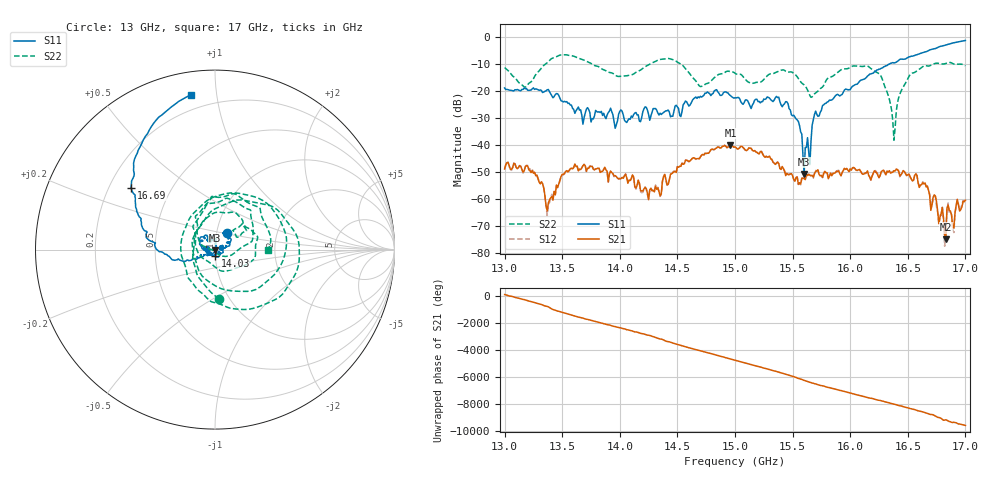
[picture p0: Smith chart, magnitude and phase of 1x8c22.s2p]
!Keysight Technologies,P9374A,MY57211807,A.19.30.04
!Date: Friday, May 08, 2026 15:09:33
!Correction: S11(C  2-Port  )
!S21(C  2-Port  )
!S12(C  2-Port  )
!S22(C  2-Port  )
!S2P File: Measurements: S11, S21, S12, S22:
# Hz S  dB  R 50
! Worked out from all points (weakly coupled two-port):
!   401 points, 13 GHz to 17 GHz, reference 50 ohm
!   highest |S21| = -40.00 dB at 14.96 GHz (marker M1); lowest = -75.1 dB at 16.83 GHz (marker M2)
!   lowest |S11| = -50.7 dB at 15.6 GHz (marker M3), VSWR 1.01, Z = 50 - j0.291 ohm
!   |S11| at or under -10 dB: start of sweep to 16.34 GHz
!   |S22| runs from -38.2 to -6.5 dB; largest |S21 - S12| = 0.00035
!   S11 on the Smith chart (normalised r, x): 13 GHz: 1.12, +0.21; 14.03 GHz: 1.00, -0.07; 16.69 GHz: 0.29, +0.30; 17 GHz: 0.12, +0.85
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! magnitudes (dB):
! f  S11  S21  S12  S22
! 13 GHz  -18.8  -48.9  -49.1  -11.2
! 13.18 GHz  -19.1  -48.0  -47.9  -18.5
! 13.38 GHz  -19.4  -61.4  -62.4  -9.0
! 13.51 GHz  -24.0  -50.9  -51.1  -6.5
! 13.67 GHz  -28.9  -48.5  -48.5  -8.2
! 14.03 GHz  -28.8  -52.4  -52.1  -14.4
! 14.34 GHz  -28.9  -57.3  -57.3  -8.3
! 14.71 GHz  -22.2  -43.8  -43.7  -18.2
! 14.96 GHz  -21.6  -40.0  -39.9  -12.8
! 15 GHz  -22.5  -40.7  -40.7  -13.3
! 15.45 GHz  -23.9  -50.5  -50.5  -12.9
! 15.56 GHz  -32.7  -54.0  -54.2  -16.0
! 15.6 GHz  -50.7  -52.5  -52.5  -17.7
! 15.67 GHz  -32.6  -51.3  -51.3  -22.1
! 15.78 GHz  -24.6  -49.8  -49.8  -17.0
! 16.14 GHz  -14.9  -50.3  -50.4  -10.6
! 16.34 GHz  -9.9  -49.5  -49.6  -23.0
! 16.38 GHz  -9.5  -49.5  -49.6  -38.2
! 16.51 GHz  -7.3  -50.8  -50.8  -14.6
! 16.69 GHz  -4.7  -58.7  -58.1  -10.6
! 16.83 GHz  -2.9  -75.1  -71.3  -9.7
! 17 GHz  -1.2  -60.5  -59.9  -10.6
